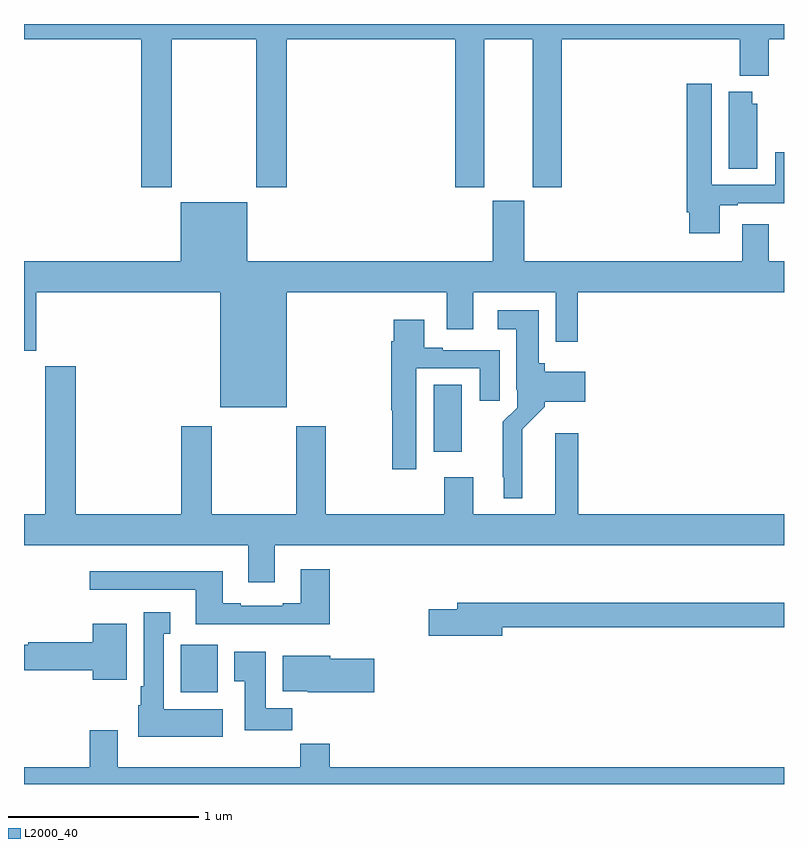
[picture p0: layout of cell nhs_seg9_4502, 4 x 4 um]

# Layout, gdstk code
import gdstk
lib = gdstk.Library(unit=1e-6, precision=1e-09)
def R(c, l, rs):  # rectangles x0, y0, x1, y1
    for r in rs: c.add(gdstk.rectangle(r[:2], r[2:], *l))
def P(c, l, *ps):  # polygons
    for p in ps: c.add(gdstk.Polygon(p, *l))
L2000_40 = (2000, 40)

nhs_seg9_4502 = lib.new_cell('nhs_seg9_4502')
R(nhs_seg9_4502, L2000_40, [(369.825,1192.982,370.021,1193.232), (371.156,1194.249,371.305,1194.602)])
P(nhs_seg9_4502, L2000_40, [(369.777,1196.42),(370.222,1196.42),(370.222,1195.641),(370.382,1195.641),(370.382,1196.42),(371.27,1196.42),(371.27,1195.641),(371.422,1195.641),(371.422,1196.42),(371.678,1196.42),(371.678,1195.641),(371.831,1195.641),(371.831,1196.42),(372.767,1196.42),(372.767,1196.228),(372.919,1196.228),(372.919,1196.42),(373,1196.42),(373,1196.5),(369,1196.5),(369,1196.42),(369.617,1196.42),(369.617,1195.641),(369.777,1195.641)],
  [(372.661,1195.545),(372.757,1195.545),(372.757,1195.557),(373,1195.557),(373,1195.825),(372.953,1195.825),(372.953,1195.653),(372.619,1195.653),(372.619,1196.185),(372.488,1196.185),(372.488,1195.51),(372.5,1195.51),(372.5,1195.398),(372.661,1195.398)],
  [(372.859,1196.079),(372.832,1196.079),(372.832,1196.143),(372.71,1196.143),(372.71,1195.738),(372.859,1195.738)],
  [(372.779,1195.447),(372.779,1195.252),(371.632,1195.252),(371.632,1195.569),(371.468,1195.569),(371.468,1195.252),(370.174,1195.252),(370.174,1195.561),(369.824,1195.561),(369.824,1195.252),(369,1195.252),(369,1194.779),(369.064,1194.779),(369.064,1195.088),(370.034,1195.088),(370.034,1194.482),(370.384,1194.482),(370.384,1195.088),(371.225,1195.088),(371.225,1194.894),(371.365,1194.894),(371.365,1195.088),(371.799,1195.088),(371.799,1194.828),(371.915,1194.828),(371.915,1195.088),(373,1195.088),(373,1195.252),(372.919,1195.252),(372.919,1195.447)],
  [(371.623,1194.368),(371.741,1194.486),(371.741,1194.512),(371.953,1194.512),(371.953,1194.67),(371.741,1194.67),(371.741,1194.714),(371.71,1194.714),(371.71,1194.994),(371.493,1194.994),(371.493,1194.893),(371.591,1194.893),(371.591,1194.574),(371.595,1194.574),(371.595,1194.48),(371.521,1194.406),(371.521,1194.115),(371.525,1194.115),(371.525,1194.005),(371.623,1194.005)],
  [(371.065,1194.687),(371.399,1194.687),(371.399,1194.516),(371.503,1194.516),(371.503,1194.783),(371.203,1194.783),(371.203,1194.796),(371.107,1194.796),(371.107,1194.943),(370.946,1194.943),(370.946,1194.83),(370.934,1194.83),(370.934,1194.468),(370.939,1194.468),(370.939,1194.156),(371.065,1194.156)],
  [(370.321,1193.756),(373,1193.756),(373,1193.92),(371.918,1193.92),(371.918,1194.346),(371.795,1194.346),(371.795,1193.92),(371.365,1193.92),(371.365,1194.115),(371.213,1194.115),(371.213,1193.92),(370.587,1193.92),(370.587,1194.382),(370.432,1194.382),(370.432,1193.92),(369.987,1193.92),(369.987,1194.382),(369.827,1194.382),(369.827,1193.92),(369.272,1193.92),(369.272,1194.7),(369.112,1194.7),(369.112,1193.92),(369,1193.92),(369,1193.756),(370.181,1193.756),(370.181,1193.562),(370.321,1193.562)],
  [(370.61,1193.629),(370.457,1193.629),(370.457,1193.452),(370.361,1193.452),(370.361,1193.439),(370.141,1193.439),(370.141,1193.452),(370.045,1193.452),(370.045,1193.62),(369.345,1193.62),(369.345,1193.523),(369.905,1193.523),(369.905,1193.342),(370.61,1193.342)],
  [(371.518,1193.326),(373,1193.326),(373,1193.455),(371.279,1193.455),(371.279,1193.421),(371.13,1193.421),(371.13,1193.279),(371.518,1193.279)],
  [(370.045,1192.894),(369.736,1192.894),(369.736,1193.291),(369.769,1193.291),(369.769,1193.404),(369.629,1193.404),(369.629,1193.014),(369.614,1193.014),(369.614,1192.914),(369.602,1192.914),(369.602,1192.748),(370.045,1192.748)],
  [(369.541,1193.344),(369.362,1193.344),(369.362,1193.246),(369.022,1193.246),(369.022,1193.233),(369,1193.233),(369,1193.099),(369.362,1193.099),(369.362,1193.048),(369.541,1193.048)],
  [(370.412,1192.9),(370.273,1192.9),(370.273,1193.197),(370.106,1193.197),(370.106,1193.041),(370.163,1193.041),(370.163,1192.782),(370.412,1192.782)],
  [(370.843,1193.159),(370.612,1193.159),(370.612,1193.176),(370.361,1193.176),(370.361,1192.988),(370.494,1192.988),(370.494,1192.982),(370.843,1192.982)],
  [(373,1192.588),(370.61,1192.588),(370.61,1192.712),(370.453,1192.712),(370.453,1192.588),(369.493,1192.588),(369.493,1192.783),(369.346,1192.783),(369.346,1192.588),(369,1192.588),(369,1192.5),(373,1192.5)])

lib.write_gds('nhs_seg9_4502.gds')
